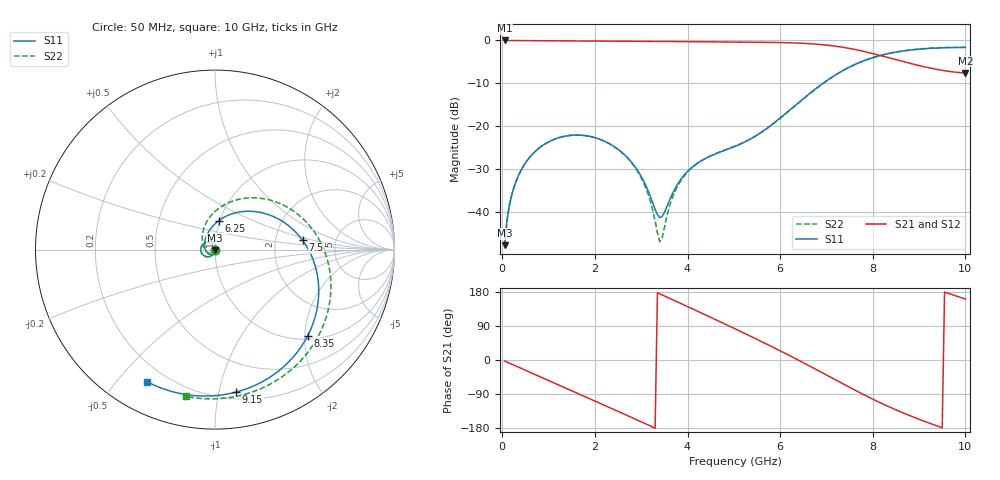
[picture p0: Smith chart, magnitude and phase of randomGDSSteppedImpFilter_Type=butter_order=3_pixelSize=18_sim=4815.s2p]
! freq	dB(S11)	phase(S11)	dB(S12)	phase(S12)
!  dB(S21)	phase(S21)	dB(S22)	phase(S22)
!S-par simulation data
#  GHz  S  DB  R 50
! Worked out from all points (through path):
!   200 points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, 50 MHz to 10 GHz, reference 50 ohm
!   highest |S21| = 0.00 dB at 50 MHz (marker M1); lowest = -7.6 dB at 10 GHz (marker M2)
!   group delay of S21, straight-line fit = 161 ps
!   lowest |S11| = -47.7 dB at 50 MHz (marker M3), VSWR 1.01, Z = 50 - j0.412 ohm
!   |S11| at or under -10 dB: start of sweep to 6.921 GHz
!   |S22| runs from -47.9 to -1.6 dB; largest |S21 - S12| = 0
!   S11 on the Smith chart (normalised r, x): 50 MHz: 1.00, -0.01; 6.25 GHz: 0.99, +0.33; 7.5 GHz: 2.87, +0.39; 8.35 GHz: 1.08, -2.07; 9.15 GHz: 0.25, -1.13; 10 GHz: 0.13, -0.60
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0.05  -47.70 -88.0  -0.00 -2.8  -0.00 -2.8  -47.87 -85.8
0.1  -41.97 -92.6  -0.01 -5.5  -0.01 -5.5  -42.03 -92.0
0.2  -36.11 -99.8  -0.02 -10.9  -0.02 -10.9  -36.11 -99.5
0.5  -28.50 -117.8  -0.04 -27.2  -0.04 -27.2  -28.50 -117.0
1.15  -22.88 -154.5  -0.10 -62.3  -0.10 -62.3  -22.88 -152.4
1.75  -22.09 171.6  -0.14 -94.7  -0.14 -94.7  -22.10 175.8
2.25  -23.66 142.3  -0.16 -121.9  -0.16 -121.9  -23.69 149.8
2.85  -29.15 101.6  -0.19 -154.8  -0.19 -154.8  -29.32 121.2
3.15  -35.00 69.7  -0.21 -171.4  -0.21 -171.4  -35.78 113.4
3.4  -41.21 -0.9  -0.23 174.7  -0.23 174.7  -46.80 165.0
3.65  -36.20 -76.5  -0.25 160.7  -0.25 160.7  -37.26 -128.4
3.95  -31.05 -110.7  -0.28 143.8  -0.28 143.8  -31.26 -134.8
4.5  -26.87 -153.0  -0.32 112.6  -0.32 112.6  -26.83 -159.9
5.05  -24.54 166.0  -0.37 80.9  -0.37 80.9  -24.47 173.1
5.6  -21.32 125.3  -0.42 48.4  -0.42 48.4  -21.36 144.8
6.25  -15.79 82.7  -0.56 8.7  -0.56 8.7  -15.90 107.0
6.7  -11.79 55.2  -0.80 -20.0  -0.80 -20.0  -11.88 78.3
7.1  -8.67 30.6  -1.20 -46.1  -1.20 -46.1  -8.72 52.0
7.5  -6.18 6.0  -1.86 -72.2  -1.86 -72.2  -6.20 25.6
8.35  -3.03 -42.9  -4.04 -123.5  -4.04 -123.5  -3.01 -25.8
9.15  -1.91 -81.7  -6.23 -163.4  -6.23 -163.4  -1.86 -65.6
10  -1.64 -117.3  -7.58 160.9  -7.58 160.9  -1.58 -101.0
